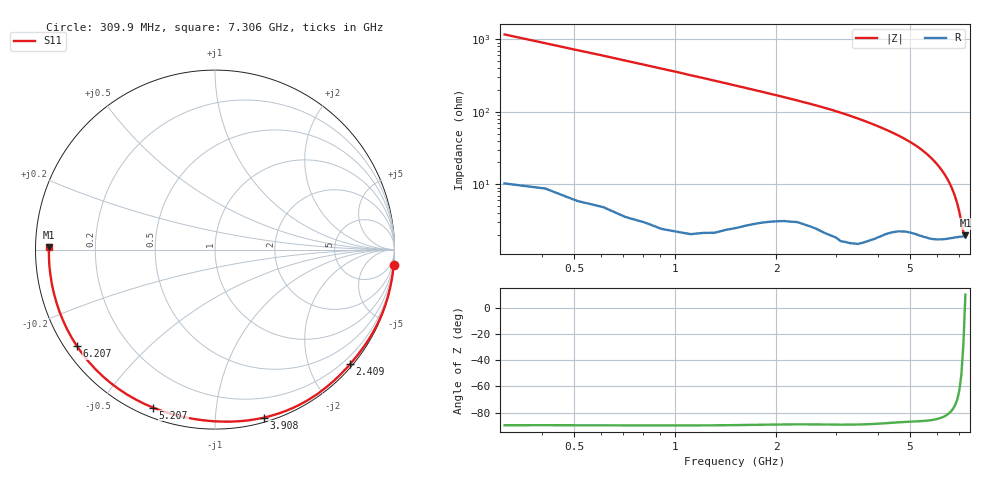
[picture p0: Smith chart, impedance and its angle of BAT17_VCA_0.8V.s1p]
! Infineon Technologies  Discrete & RF Semiconductors
! BAT17
! VCA = 0.8 V
! One-Port S-Parameters
# Hz  S  MA  R  50
!f  S11
!Hz  Mag  Ang
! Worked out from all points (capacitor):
!   71 points, 309.9 MHz to 7.306 GHz, reference 50 ohm
!   read as one part to ground: C = 437 fF near 309.9 MHz
!   lowest |Z| = 1.97 ohm at 7.306 GHz (marker M1)
!   series resonance near 7.281 GHz, so ESL is about 1.1 nH
!   S11 on the Smith chart (normalised r, x): 309.9 MHz: 0, -23; 2.409 GHz: 0.06, -2.72; 3.908 GHz: 0.04, -1.33; 5.207 GHz: 0.04, -0.68; 6.207 GHz: 0.03, -0.31; 7.306 GHz: 0.04, +0.01
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3.0985e8  0.9992 -4.9
8.096e8  0.9985 -12.8
1.2094e9  0.9976 -19.4
1.6092e9  0.9946 -26.1
2.10895e9  0.9889 -34.8
2.4088e9  0.9867 -40.3
2.70865e9  0.9863 -46.0
3.0085e9  0.9859 -52.2
3.2084e9  0.9857 -56.7
3.4083e9  0.9843 -61.3
3.6082e9  0.9816 -66.2
3.8081e9  0.9772 -71.3
3.90805e9  0.975 -73.9
4.10795e9  0.969 -79.2
4.30785e9  0.9625 -84.7
4.50775e9  0.9567 -90.3
4.70765e9  0.9517 -96.2
5.0075e9  0.947 -105.2
5.2074e9  0.9455 -111.5
5.4073e9  0.9448 -118.0
5.6072e9  0.9441 -124.7
5.90705e9  0.9421 -134.9
6.2069e9  0.9386 -145.2
6.50675e9  0.9341 -155.3
6.70665e9  0.9313 -161.8
6.90655e9  0.9291 -168.2
7.10645e9  0.9272 -174.6
7.30635e9  0.9253 179.2
